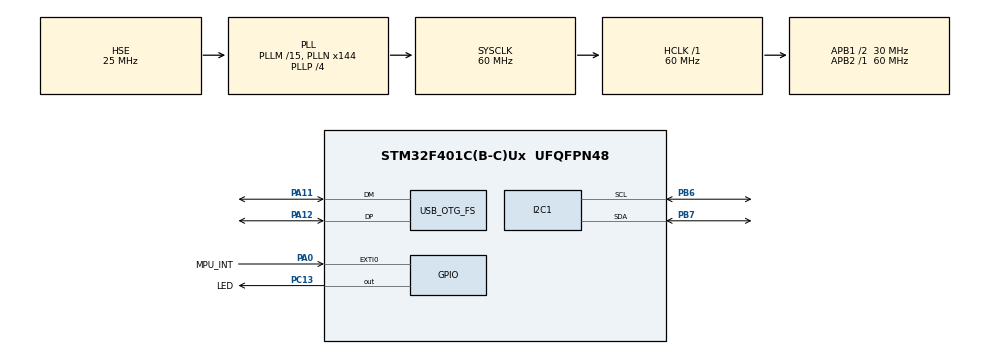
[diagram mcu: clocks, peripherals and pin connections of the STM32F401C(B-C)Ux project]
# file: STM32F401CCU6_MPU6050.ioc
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I2C1.I2C_Mode=I2C_Fast
Mcu.Family=STM32F4
Mcu.Name=STM32F401C(B-C)Ux
Mcu.Package=UFQFPN48
NVIC.EXTI0_IRQn=true\:0\:0\:false\:false\:true\:true\:true\:true
NVIC.OTG_FS_IRQn=true\:0\:0\:false\:false\:true\:false\:true\:true
NVIC.PriorityGroup=NVIC_PRIORITYGROUP_4
PA0-WKUP.GPIO_Label=MPU_INT
PA0-WKUP.Signal=GPXTI0
PA11.Mode=Device_Only
PA11.Signal=USB_OTG_FS_DM
PA12.Mode=Device_Only
PA12.Signal=USB_OTG_FS_DP
PA13.Mode=Serial_Wire
PA13.Signal=SYS_JTMS-SWDIO
PA14.Mode=Serial_Wire
PA14.Signal=SYS_JTCK-SWCLK
PB6.Mode=I2C
PB6.Signal=I2C1_SCL
PB7.Mode=I2C
PB7.Signal=I2C1_SDA
PC13-ANTI_TAMP.GPIO_Label=LED
PC13-ANTI_TAMP.Signal=GPIO_Output
PH0\ -\ OSC_IN.Mode=HSE-External-Oscillator
PH0\ -\ OSC_IN.Signal=RCC_OSC_IN
PH1\ -\ OSC_OUT.Mode=HSE-External-Oscillator
PH1\ -\ OSC_OUT.Signal=RCC_OSC_OUT
ProjectManager.HeapSize=0x200
ProjectManager.StackSize=0x400
ProjectManager.TargetToolchain=STM32CubeIDE
RCC.48MHZClocksFreq_Value=48000000
RCC.AHBFreq_Value=60000000
RCC.APB1CLKDivider=RCC_HCLK_DIV2
RCC.APB1Freq_Value=30000000
RCC.APB1TimFreq_Value=60000000
RCC.APB2Freq_Value=60000000
RCC.APB2TimFreq_Value=60000000
RCC.CortexFreq_Value=60000000
RCC.HCLKFreq_Value=60000000
RCC.HSE_VALUE=25000000
RCC.HSI_VALUE=16000000
RCC.LSE_VALUE=32768
RCC.PLLM=15
RCC.PLLN=144
RCC.PLLP=RCC_PLLP_DIV4
RCC.PLLQ=5
RCC.SYSCLKFreq_VALUE=60000000
RCC.SYSCLKSource=RCC_SYSCLKSOURCE_PLLCLK
RCC.VCOOutputFreq_Value=240000000
USB_DEVICE.CLASS_NAME_FS=CDC
USB_DEVICE.VirtualMode=Cdc
USB_DEVICE.VirtualModeFS=Cdc_FS
USB_OTG_FS.VirtualMode=Device_Only
VP_USB_DEVICE_VS_USB_DEVICE_CDC_FS.Mode=CDC_FS
board=custom

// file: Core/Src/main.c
/* USER CODE BEGIN Header */
/**
  ******************************************************************************
  * @file           : main.c
  * @brief          : Main program body
  ******************************************************************************
  * @attention
  *
  * <h2><center>&copy; Copyright (c) 2020 STMicroelectronics.
  * All rights reserved.</center></h2>
  *
  * This software component is licensed by ST under BSD 3-Clause license,
  * the "License"; You may not use this file except in compliance with the
  * License. You may obtain a copy of the License at:
  *                        opensource.org/licenses/BSD-3-Clause
  *
  ******************************************************************************
  */
/* USER CODE END Header */

#include "main.h"
#include "i2c.h"
#include "usb_device.h"
#include "gpio.h"

/* USER CODE BEGIN Includes */
#include "mpu6050.h"
/* USER CODE END Includes */

/* USER CODE BEGIN PD */
#define MPU6050_ADDR (0x68 << 1)  // Dirección 7 bits del MPU6050 desplazada 1 bit a la izquierda

/* USER CODE END PD */

/* USER CODE BEGIN PV */
MPU6050_t MPU6050;
/* USER CODE END PV */

void SystemClock_Config(void);

/* USER CODE BEGIN 0 */
void HAL_GPIO_EXTI_Callback(uint16_t GPIO_Pin) {
    if (GPIO_Pin == GPIO_PIN_0) {
        HAL_GPIO_TogglePin(GPIOC, GPIO_PIN_13); // Por ejemplo, LED en PC13
    }
}
/* USER CODE END 0 */

int main(void)
{

  /* MCU Configuration--------------------------------------------------------*/

  /* Reset of all peripherals, Initializes the Flash interface and the Systick. */
  HAL_Init();

  /* USER CODE BEGIN Init */
  uint32_t ticker0 = 0;
  uint32_t ticker1 = 0;
  char msg[8];
  /* USER CODE END Init */

  /* Configure the system clock */
  SystemClock_Config();

  /* USER CODE BEGIN SysInit */
  while (MPU6050_Init(&hi2c1) == 1);
  for(uint8_t i=0; i<12; i++){
	  msg[i]='0';
  }
 // uint8_t mask = 0x01;				//mascara = 1
 // HAL_I2C_Mem_Write(&hi2c1, MPU6050_ADDR, 0x38, 1, &mask, 1, HAL_MAX_DELAY);// Escribí 0x00 en el registro 0x37 (INT_PIN_CFG) para que la salida sea push-pull y activa en alto
 // mask = 0x00;
  //HAL_I2C_Mem_Write(&hi2c1, MPU6050_ADDR, 0x37, 1, &mask, 1, HAL_MAX_DELAY);

  /* USER CODE END SysInit */

  /* Initialize all configured peripherals */
  MX_GPIO_Init();
  MX_I2C1_Init();
  MX_USB_DEVICE_Init();

  /* Infinite loop */
  /* USER CODE BEGIN WHILE */
  while (1)
  {
	  if(HAL_GetTick()-ticker0 >= 1000){
		  ticker0= HAL_GetTick();
		  HAL_GPIO_TogglePin(GPIOC, GPIO_PIN_13);
//		  MPU6050_Read_All(&hi2c1, &MPU6050);
		 // MPU6050.Accel_X_RAW;
	  }

	  /*
	  if(HAL_GetTick()-ticker1 >= 1000){
		  ticker1= HAL_GetTick();

		//  itoa(MPU6050.Accel_X_RAW, msg, 10);
		  CDC_Transmit_FS(msg, strlen(msg));
	 	  }

*/
	 // HAL_Delay (100);
    /* USER CODE END WHILE */

  }
}

void SystemClock_Config(void)
{
  RCC_OscInitTypeDef RCC_OscInitStruct = {0};
  RCC_ClkInitTypeDef RCC_ClkInitStruct = {0};

  /** Configure the main internal regulator output voltage
  */
  __HAL_RCC_PWR_CLK_ENABLE();
  __HAL_PWR_VOLTAGESCALING_CONFIG(PWR_REGULATOR_VOLTAGE_SCALE2);
  /** Initializes the CPU, AHB and APB busses clocks
  */
  RCC_OscInitStruct.OscillatorType = RCC_OSCILLATORTYPE_HSE;
  RCC_OscInitStruct.HSEState = RCC_HSE_ON;
  RCC_OscInitStruct.PLL.PLLState = RCC_PLL_ON;
  RCC_OscInitStruct.PLL.PLLSource = RCC_PLLSOURCE_HSE;
  RCC_OscInitStruct.PLL.PLLM = 15;
  RCC_OscInitStruct.PLL.PLLN = 144;
  RCC_OscInitStruct.PLL.PLLP = RCC_PLLP_DIV4;
  RCC_OscInitStruct.PLL.PLLQ = 5;
  if (HAL_RCC_OscConfig(&RCC_OscInitStruct) != HAL_OK)
  {
    Error_Handler();
  }
  /** Initializes the CPU, AHB and APB busses clocks
  */
  RCC_ClkInitStruct.ClockType = RCC_CLOCKTYPE_HCLK|RCC_CLOCKTYPE_SYSCLK
                              |RCC_CLOCKTYPE_PCLK1|RCC_CLOCKTYPE_PCLK2;
  RCC_ClkInitStruct.SYSCLKSource = RCC_SYSCLKSOURCE_PLLCLK;
  RCC_ClkInitStruct.AHBCLKDivider = RCC_SYSCLK_DIV1;
  RCC_ClkInitStruct.APB1CLKDivider = RCC_HCLK_DIV2;
  RCC_ClkInitStruct.APB2CLKDivider = RCC_HCLK_DIV1;

  if (HAL_RCC_ClockConfig(&RCC_ClkInitStruct, FLASH_LATENCY_1) != HAL_OK)
  {
    Error_Handler();
  }
}

void Error_Handler(void)
{
}

/************************ (C) COPYRIGHT STMicroelectronics *****END OF FILE****/
